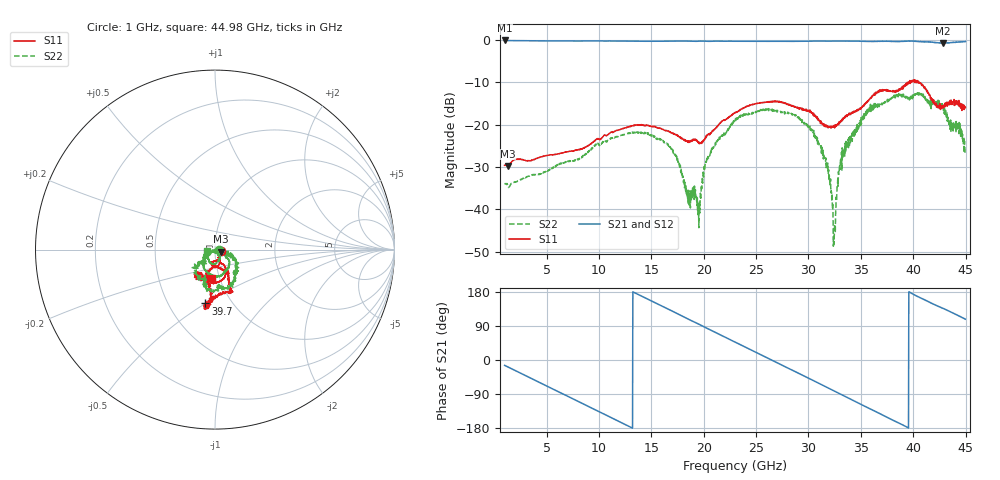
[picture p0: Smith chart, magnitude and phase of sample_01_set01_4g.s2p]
!Keysight Technologies,N5247B,MY61255062,A.19.80.06
!Date: Friday, March 13, 2026 17:38:55
!Correction: S11(C  2-Port  )
!S21(C  2-Port  )
!S12(C  2-Port  )
!S22(C  2-Port  )
!S2P File: Measurements: S11, S21, S12, S22:
# Hz S  dB  R 50
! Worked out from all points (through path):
!   1467 points, 1 GHz to 44.98 GHz, reference 50 ohm
!   highest |S21| = -0.21 dB at 1 GHz (marker M1); lowest = -0.8 dB at 42.85 GHz (marker M2)
!   group delay of S21, straight-line fit = 37.9 ps
!   lowest |S11| = -29.7 dB at 1.3 GHz (marker M3), VSWR 1.07, Z = 53.2 - j1.15 ohm
!   |S11| at or under -10 dB: start of sweep to 39.54 GHz; 39.55271 GHz to 39.64849 GHz (95.78 MHz wide, 0.242 % of centre); 40.52 GHz to end of sweep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
!   |S22| runs from -48.6 to -12.4 dB; largest |S21 - S12| = 0.0096
!   S11 on the Smith chart (normalised r, x): 1 GHz: 1.07, -0.02; 39.7 GHz: 0.76, -0.50; 44.98 GHz: 0.92, -0.30
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1e9  -29.61 -16.0  -0.21 -14.1  -0.20 -14.1  -33.81 -4.4
1.3e9  -29.75 -19.4  -0.24 -18.2  -0.24 -18.2  -34.42 -14.4
5.02e9  -27.30 -58.0  -0.31 -68.6  -0.30 -68.6  -31.09 -47.3
8.35e9  -25.75 -64.0  -0.32 -113.5  -0.32 -113.5  -27.84 -56.0
1.213e10  -21.06 -75.7  -0.35 -165.1  -0.34 -165.1  -22.53 -82.4
1.567e10  -20.82 -98.6  -0.40 147.0  -0.39 147.0  -23.28 -120.9
1.711e10  -22.04 -104.7  -0.36 127.5  -0.35 127.5  -26.76 -142.8
1.852e10  -23.86 -87.0  -0.36 108.0  -0.36 108.1  -38.78 -104.5
1.945e10  -24.19 -80.4  -0.39 95.8  -0.38 95.8  -41.24 -69.1
2.035e10  -22.45 -68.6  -0.41 83.2  -0.41 83.2  -28.46 -19.8
2.299e10  -17.16 -64.0  -0.41 47.3  -0.40 47.3  -18.98 -45.6
2.665e10  -14.56 -92.2  -0.40 -2.3  -0.40 -2.3  -16.83 -93.7
3.034e10  -17.26 -106.7  -0.36 -52.4  -0.35 -52.4  -21.17 -133.7
3.172e10  -20.14 -96.4  -0.37 -71.8  -0.36 -71.6  -29.10 -138.9
3.25e10  -20.78 -86.6  -0.36 -82.3  -0.35 -82.3  -43.47 -25.0
3.295e10  -19.79 -77.2  -0.35 -88.6  -0.34 -88.6  -30.19 -19.1
3.343e10  -18.36 -68.0  -0.36 -95.3  -0.36 -95.1  -25.41 -13.6
3.571e10  -14.44 -66.6  -0.44 -126.6  -0.43 -126.5  -16.64 -37.4
3.766e10  -12.20 -72.6  -0.39 -153.4  -0.39 -153.2  -14.46 -54.1
3.97e10  -10.33 -100.1  -0.36 178.2  -0.34 178.2  -13.51 -82.5
4.285e10  -16.13 -127.3  -0.84 136.1  -0.81 136.3  -15.82 -135.8
4.498e10  -16.03 -95.9  -0.47 107.7  -0.44 107.7  -27.03 -166.3
